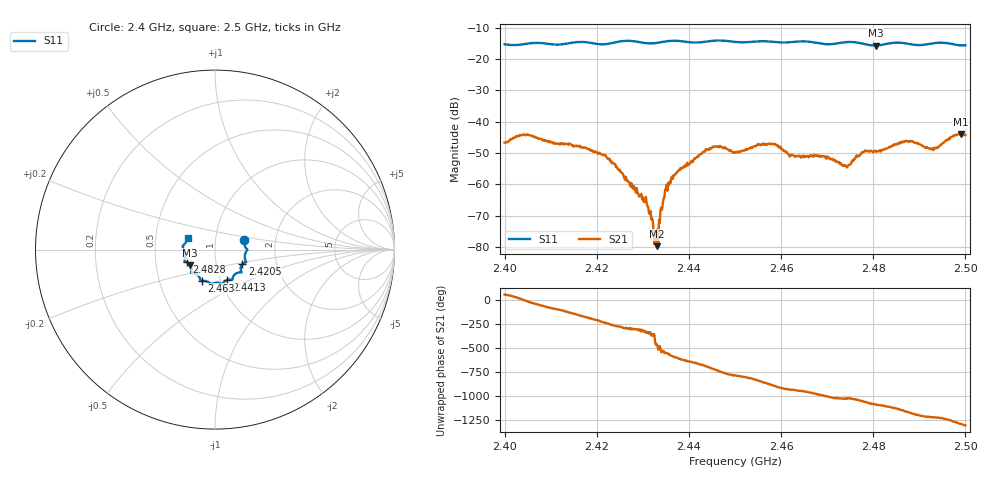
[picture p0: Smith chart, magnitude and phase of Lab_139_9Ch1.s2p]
# Hz S RI R 50
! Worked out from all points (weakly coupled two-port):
!   601 points, 2.4 GHz to 2.5 GHz, reference 50 ohm
!   highest |S21| = -44.06 dB at 2.499 GHz (marker M1); lowest = -79.8 dB at 2.433 GHz (marker M2)
!   lowest |S11| = -15.7 dB at 2.4805 GHz (marker M3), VSWR 1.39, Z = 37.3 - j6.7 ohm
!   |S11| at or under -10 dB: start of sweep to end of sweep
!   S12 and S22 are empty: the file has one direction only
!   S11 on the Smith chart (normalised r, x): 2.4 GHz: 1.38, +0.15; 2.4205 GHz: 1.34, -0.22; 2.4413 GHz: 1.08, -0.38; 2.463 GHz: 0.82, -0.29; 2.4828 GHz: 0.72, -0.10; 2.5 GHz: 0.73, +0.10
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2.4e9  0.1631 0.0525  0.00253 0.00388  0 0  0 0
2.4045e9  0.1736 0.00672  0.00601 -0.000647  0 0  0 0
2.416667e9  0.1734 -0.0697  -0.00379 -0.00109  0 0  0 0
2.4205e9  0.152 -0.0808  -0.00264 0.0018  0 0  0 0
2.430167e9  0.1265 -0.1294  0.000449 0.000271  0 0  0 0
2.433e9  0.102 -0.1485  -1.63e-05 -0.000101  0 0  0 0
2.433333e9  0.1004 -0.1513  -0.000101 -4.38e-05  0 0  0 0
2.435333e9  0.0977 -0.1655  -0.000773 0.000139  0 0  0 0
2.441333e9  0.0675 -0.1699  0.000873 0.00239  0 0  0 0
2.445667e9  0.0424 -0.1917  0.00401 -0.000139  0 0  0 0
2.45e9  0.0248 -0.1856  0.00151 -0.00284  0 0  0 0
2.457833e9  -0.0296 -0.1864  -0.00416 -0.00158  0 0  0 0
2.463e9  -0.0721 -0.1737  -0.00221 0.0016  0 0  0 0
2.466667e9  -0.0816 -0.1674  -0.00127 0.00253  0 0  0 0
2.474e9  -0.1315 -0.1305  0.00101 0.00171  0 0  0 0
2.4805e9  -0.1384 -0.0874  0.00335 -0.000258  0 0  0 0
2.482833e9  -0.1586 -0.0702  0.0033 -0.00172  0 0  0 0
2.483333e9  -0.1626 -0.0682  0.00339 -0.00187  0 0  0 0
2.487667e9  -0.1668 -0.0505  0.000418 -0.00486  0 0  0 0
2.493167e9  -0.1783 0.0105  -0.00281 -0.00246  0 0  0 0
2.499e9  -0.1568 0.0497  -0.00568 0.00265  0 0  0 0
2.5e9  -0.1521 0.064  -0.0045 0.00414  0 0  0 0
